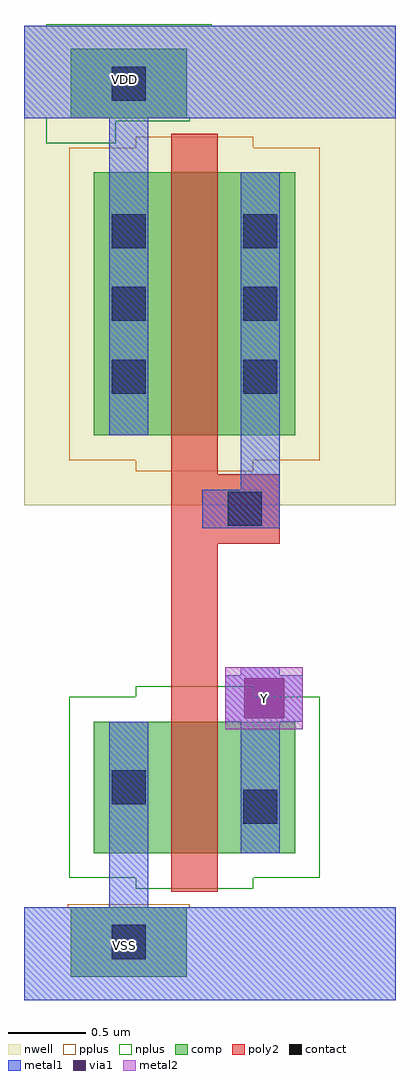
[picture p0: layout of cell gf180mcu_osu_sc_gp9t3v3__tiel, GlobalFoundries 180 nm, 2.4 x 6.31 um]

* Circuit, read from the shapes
.subckt gf180mcu_osu_sc_gp9t3v3__tiel VDD VSS Y
XM1 Y n1 VSS VSS nfet_03v3 w=0.85u l=0.3u
XM2 n1 n1 VDD VDD pfet_03v3 w=1.7u l=0.3u
.ends

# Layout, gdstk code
import gdstk
lib = gdstk.Library(unit=1e-6, precision=1e-09)
def R(c, l, rs):  # rectangles x0, y0, x1, y1
    for r in rs: c.add(gdstk.rectangle(r[:2], r[2:], *l))
def A(c, l, x, y, w, h, nx, ny, dx, dy):  # array of equal rectangles
    R(c, l, [(x+i*dx, y+j*dy, x+i*dx+w, y+j*dy+h) for i in range(nx) for j in range(ny)])
nwell = (21, 0)
comp = (22, 0)
poly2 = (30, 0)
pplus = (31, 0)
nplus = (32, 0)
contact = (33, 0)
metal1 = (34, 0)
via1 = (35, 0)
metal2 = (36, 0)

gf180mcu_osu_sc_gp9t3v3_ = lib.new_cell('gf180mcu_osu_sc_gp9t3v3__tiel')
R(gf180mcu_osu_sc_gp9t3v3_, nwell, [(0,3.2,2.4,6.3)])
R(gf180mcu_osu_sc_gp9t3v3_, comp, [(0.3,0.15,1.05,0.6), (0.45,0.95,1.75,1.8), (0.45,3.65,1.75,5.35), (0.3,5.7,1.05,6.15)])
R(gf180mcu_osu_sc_gp9t3v3_, poly2, [(0.95,0.7,1.25,2.95), (0.95,2.95,1.65,3.4), (0.95,3.4,1.25,5.6)])
R(gf180mcu_osu_sc_gp9t3v3_, pplus, [(0,0,2.4,0.6), (0.28,0.13,1.07,0.62), (0.72,3.42,1.48,3.49), (0.29,3.49,1.91,5.51), (0.72,5.51,1.48,5.58)])
R(gf180mcu_osu_sc_gp9t3v3_, nplus, [(0.72,0.72,1.48,0.79), (0.29,0.79,1.91,1.96), (0.72,1.96,1.48,2.03), (0.14,5.54,0.59,5.68), (0.14,5.68,1.07,5.7), (0,5.7,2.4,6.3), (0,5.7,2.4,6.3), (0.14,6.3,1.21,6.31)])
A(gf180mcu_osu_sc_gp9t3v3_, contact, 0.565, 3.92, 0.22, 0.22, 1, 3, 0, 0.47)
A(gf180mcu_osu_sc_gp9t3v3_, contact, 1.415, 3.92, 0.22, 0.22, 1, 3, 0, 0.47)
R(gf180mcu_osu_sc_gp9t3v3_, contact, [(0.565,0.265,0.785,0.485), (1.415,1.14,1.635,1.36), (0.565,1.265,0.785,1.485), (1.315,3.065,1.535,3.285), (0.565,5.815,0.785,6.035)])
R(gf180mcu_osu_sc_gp9t3v3_, metal1, [(0,0,2.4,0.6), (0.55,0.6,0.8,1.8), (1.4,0.95,1.65,1.8), (1.3,1.8,1.8,2.1), (1.4,2.1,1.65,2.15), (1.15,3.05,1.65,3.3), (1.4,3.3,1.65,5.35), (0.55,3.65,0.8,5.7), (0,5.7,2.4,6.3)])
R(gf180mcu_osu_sc_gp9t3v3_, via1, [(1.42,1.82,1.68,2.08)])
R(gf180mcu_osu_sc_gp9t3v3_, metal2, [(1.3,1.75,1.8,2.15)])
gf180mcu_osu_sc_gp9t3v3_.add(gdstk.Label('Y', (1.55,1.95), layer=36, texttype=10))
gf180mcu_osu_sc_gp9t3v3_.add(gdstk.Label('VDD', (0.65,5.95), layer=22, texttype=0))
gf180mcu_osu_sc_gp9t3v3_.add(gdstk.Label('VSS', (0.65,0.35), layer=22, texttype=0))

lib.write_gds('gf180mcu_osu_sc_gp9t3v3__tiel.gds')
